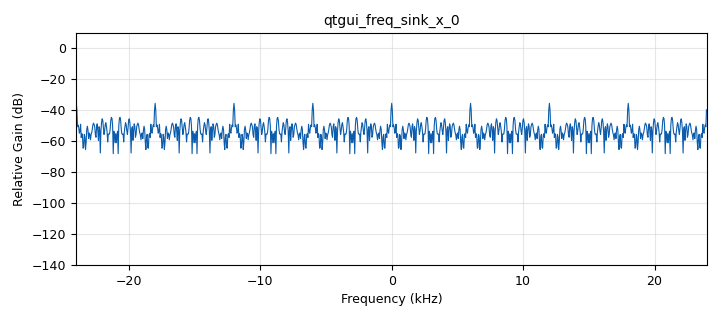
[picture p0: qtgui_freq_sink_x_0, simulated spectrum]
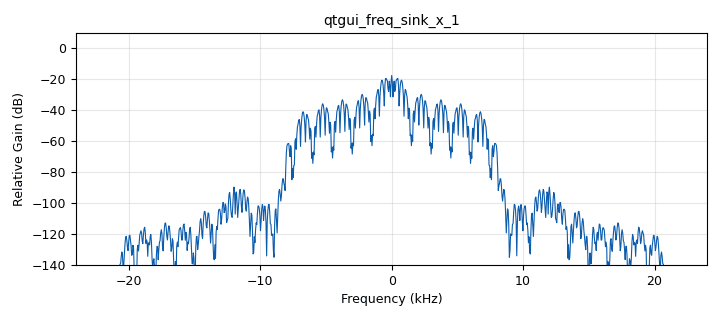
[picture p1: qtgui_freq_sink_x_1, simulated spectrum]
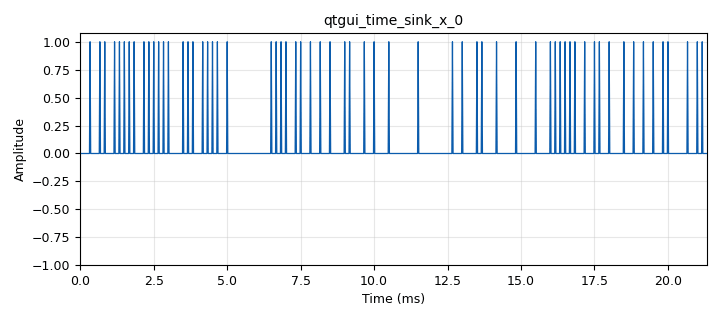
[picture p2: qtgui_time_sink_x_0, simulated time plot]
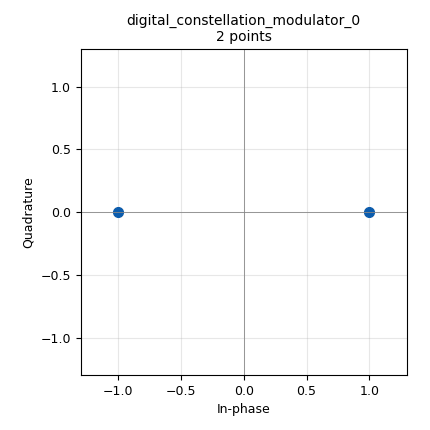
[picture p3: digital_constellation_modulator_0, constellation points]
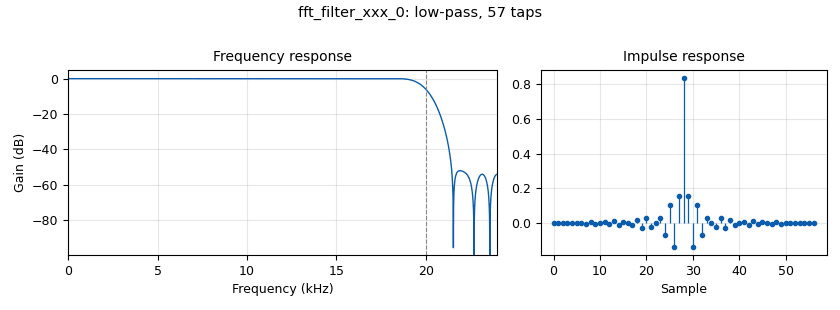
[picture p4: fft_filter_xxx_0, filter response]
options:
  parameters:
    author: popuser
    generate_options: qt_gui
    id: Randomsource
    output_language: python
    title: Randomsource
  states: {}

blocks:
- name: LimeRate
  id: variable
  parameters:
    value: '48000'
  states: {}
- name: access_key
  id: variable
  parameters:
    value: '''11100001010110101110100010010011'''
  states: {}
- name: bpsk
  id: variable_constellation
  parameters:
    precision: '8'
    type: bpsk
  states: {}
- name: excess_bw
  id: variable
  parameters:
    value: '0.350'
  states: {}
- name: hdr_format
  id: variable
  parameters:
    comment: header_format_default
    value: digital.header_format_default(access_key, 0)
  states: {}
- name: low_pass_filter_taps
  id: variable_low_pass_filter_taps
  parameters:
    cutoff_freq: '20000'
    gain: '1.0'
    samp_rate: samp_rate
    width: '2000'
    win: firdes.WIN_HAMMING
  states: {}
- name: rs_ratio
  id: variable
  parameters:
    value: '1.04'
  states: {}
- name: samp_rate
  id: variable
  parameters:
    value: '48000'
  states: {}
- name: sps
  id: variable
  parameters:
    value: '4'
  states: {}
- name: InFile
  id: parameter
  parameters:
    label: 'File Name '
    type: str
    value: ''
  states: {}
- name: analog_random_source_x_0
  id: analog_random_source_x
  parameters:
    max: '2'
    min: '0'
    num_samps: '48000'
    repeat: 'True'
    type: byte
  states: {}
- name: blocks_repack_bits_bb_0
  id: blocks_repack_bits_bb
  parameters:
    endianness: gr.GR_LSB_FIRST
    k: '8'
    l: '1'
  states: {}
- name: blocks_throttle_0
  id: blocks_throttle
  parameters:
    samples_per_second: samp_rate
    type: complex
  states: {}
- name: blocks_uchar_to_float_0
  id: blocks_uchar_to_float
  parameters: {}
  states: {}
- name: digital_constellation_modulator_0
  id: digital_constellation_modulator
  parameters:
    constellation: bpsk
    differential: 'True'
    excess_bw: '0.35'
    samples_per_symbol: '4'
  states: {}
- name: fft_filter_xxx_0
  id: fft_filter_xxx
  parameters:
    decim: '1'
    taps: low_pass_filter_taps
    type: ccc
  states: {}
- name: limesdr_sink_0
  id: limesdr_sink
  parameters:
    allow_tcxo_dac: '0'
    channel_mode: '0'
    gain_dB_ch0: '60'
    oversample: '0'
    rf_freq: '433000000'
    samp_rate: samp_rate
  states: {}
- name: mmse_resampler_xx_0
  id: mmse_resampler_xx
  parameters:
    phase_shift: '0'
    resamp_ratio: '1'
    type: complex
  states: {}
- name: qtgui_freq_sink_x_0
  id: qtgui_freq_sink_x
  parameters:
    bw: samp_rate
    fc: '0'
    fftsize: '1024'
    type: float
    wintype: firdes.WIN_BLACKMAN_hARRIS
  states: {}
- name: qtgui_freq_sink_x_1
  id: qtgui_freq_sink_x
  parameters:
    bw: samp_rate
    fc: '0'
    fftsize: '1024'
    type: complex
    wintype: firdes.WIN_BLACKMAN_hARRIS
  states: {}
- name: qtgui_time_sink_x_0
  id: qtgui_time_sink_x
  parameters:
    size: '1024'
    srate: samp_rate
    type: float
  states: {}
- name: virtual_source_0
  id: virtual_source
  parameters:
    stream_id: vt1
  states: {state: disabled}

connections:
- [analog_random_source_x_0, '0', blocks_repack_bits_bb_0, '0']
- [analog_random_source_x_0, '0', digital_constellation_modulator_0, '0']
- [blocks_repack_bits_bb_0, '0', blocks_uchar_to_float_0, '0']
- [blocks_throttle_0, '0', limesdr_sink_0, '0']
- [blocks_throttle_0, '0', qtgui_freq_sink_x_1, '0']
- [blocks_uchar_to_float_0, '0', qtgui_freq_sink_x_0, '0']
- [blocks_uchar_to_float_0, '0', qtgui_time_sink_x_0, '0']
- [digital_constellation_modulator_0, '0', fft_filter_xxx_0, '0']
- [fft_filter_xxx_0, '0', mmse_resampler_xx_0, '0']
- [mmse_resampler_xx_0, '0', blocks_throttle_0, '0']
- [virtual_source_0, '0', blocks_repack_bits_bb_0, '0']
- [virtual_source_0, '0', digital_constellation_modulator_0, '0']

metadata:
  file_format: 1
